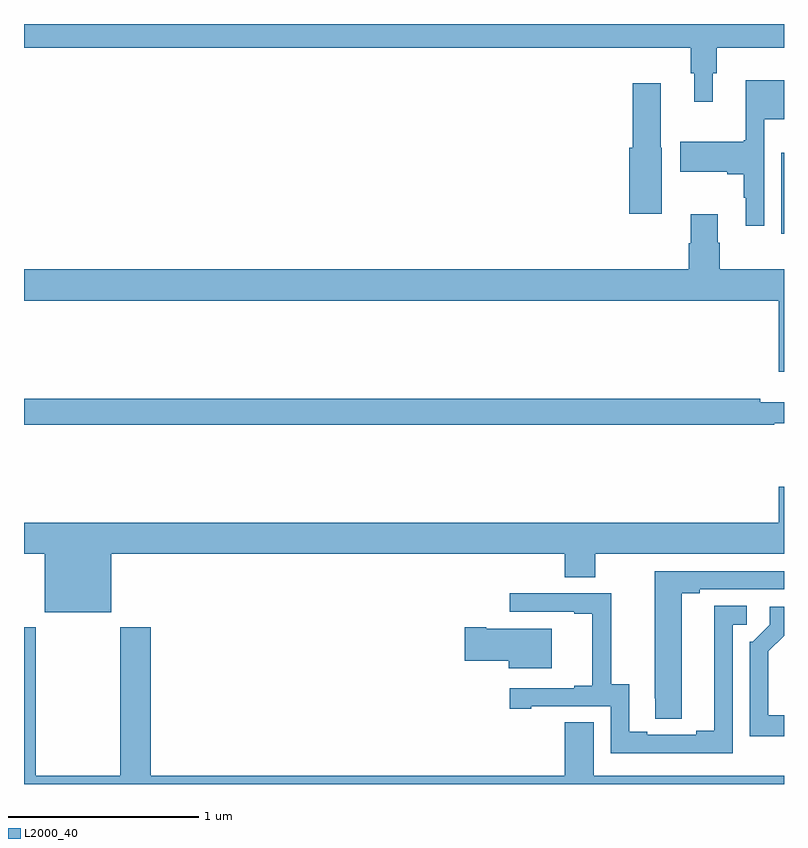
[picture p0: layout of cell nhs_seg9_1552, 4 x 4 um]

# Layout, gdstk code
import gdstk
lib = gdstk.Library(unit=1e-6, precision=1e-09)
def R(c, l, rs):  # rectangles x0, y0, x1, y1
    for r in rs: c.add(gdstk.rectangle(r[:2], r[2:], *l))
def P(c, l, *ps):  # polygons
    for p in ps: c.add(gdstk.Polygon(p, *l))
L2000_40 = (2000, 40)

nhs_seg9_1552 = lib.new_cell('nhs_seg9_1552')
R(nhs_seg9_1552, L2000_40, [(200.985,1239.396,201,1239.823)])
P(nhs_seg9_1552, L2000_40, [(200.626,1240.242),(200.645,1240.242),(200.645,1240.376),(201,1240.376),(201,1240.5),(197,1240.5),(197,1240.376),(200.509,1240.376),(200.509,1240.242),(200.528,1240.242),(200.528,1240.092),(200.626,1240.092)],
  [(200.895,1239.998),(201,1239.998),(201,1240.204),(200.798,1240.204),(200.798,1239.888),(200.787,1239.888),(200.787,1239.88),(200.454,1239.88),(200.454,1239.722),(200.702,1239.722),(200.702,1239.71),(200.787,1239.71),(200.787,1239.586),(200.798,1239.586),(200.798,1239.438),(200.895,1239.438)],
  [(200.356,1239.849),(200.35,1239.849),(200.35,1240.189),(200.204,1240.189),(200.204,1239.849),(200.186,1239.849),(200.186,1239.501),(200.356,1239.501)],
  [(201,1239.208),(200.663,1239.208),(200.663,1239.35),(200.65,1239.35),(200.65,1239.499),(200.51,1239.499),(200.51,1239.345),(200.498,1239.345),(200.498,1239.208),(197,1239.208),(197,1239.044),(200.972,1239.044),(200.972,1238.67),(201,1238.67)],
  [(200.948,1238.4),(201,1238.4),(201,1238.509),(200.876,1238.509),(200.876,1238.528),(197,1238.528),(197,1238.392),(200.948,1238.392)],
  [(197.458,1237.712),(199.847,1237.712),(199.847,1237.588),(200.007,1237.588),(200.007,1237.712),(201,1237.712),(201,1238.065),(200.972,1238.065),(200.972,1237.876),(197,1237.876),(197,1237.712),(197.108,1237.712),(197.108,1237.403),(197.458,1237.403)],
  [(200.461,1237.504),(200.557,1237.504),(200.557,1237.524),(201,1237.524),(201,1237.62),(200.321,1237.62),(200.321,1236.952),(200.322,1236.952),(200.322,1236.844),(200.461,1236.844)],
  [(200.73,1237.338),(200.803,1237.338),(200.803,1237.439),(200.633,1237.439),(200.633,1236.779),(200.537,1236.779),(200.537,1236.759),(200.281,1236.759),(200.281,1236.774),(200.185,1236.774),(200.185,1237.025),(200.091,1237.025),(200.091,1237.503),(199.557,1237.503),(199.557,1237.407),(199.895,1237.407),(199.895,1237.395),(199.991,1237.395),(199.991,1237.018),(199.895,1237.018),(199.895,1237.005),(199.557,1237.005),(199.557,1236.897),(199.669,1236.897),(199.669,1236.909),(200.088,1236.909),(200.088,1236.663),(200.73,1236.663)],
  [(201,1236.862),(200.917,1236.862),(200.917,1237.198),(201,1237.281),(201,1237.434),(200.925,1237.434),(200.925,1237.338),(200.835,1237.248),(200.82,1237.248),(200.82,1236.752),(201,1236.752)],
  [(199.777,1237.318),(199.432,1237.318),(199.432,1237.326),(199.32,1237.326),(199.32,1237.148),(199.55,1237.148),(199.55,1237.109),(199.777,1237.109)],
  [(201,1236.544),(199.999,1236.544),(199.999,1236.824),(199.847,1236.824),(199.847,1236.544),(197.666,1236.544),(197.666,1237.324),(197.506,1237.324),(197.506,1236.544),(197.061,1236.544),(197.061,1237.324),(197,1237.324),(197,1236.5),(201,1236.5)])

lib.write_gds('nhs_seg9_1552.gds')
